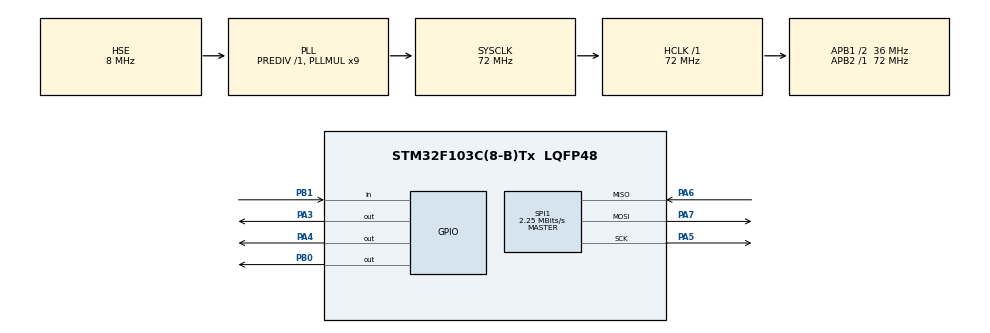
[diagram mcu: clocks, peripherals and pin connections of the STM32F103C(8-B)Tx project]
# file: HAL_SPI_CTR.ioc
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Mcu.Family=STM32F1
Mcu.Name=STM32F103C(8-B)Tx
Mcu.Package=LQFP48
NVIC.PriorityGroup=NVIC_PRIORITYGROUP_4
NVIC.RCC_IRQn=true\:0\:0\:false\:false\:true\:true\:false\:true
NVIC.SPI1_IRQn=true\:0\:0\:false\:false\:true\:true\:true\:true
NVIC.TIM2_IRQn=true\:0\:0\:false\:false\:true\:true\:true\:true
PA13.Mode=Serial_Wire
PA13.Signal=SYS_JTMS-SWDIO
PA14.Mode=Serial_Wire
PA14.Signal=SYS_JTCK-SWCLK
PA3.Signal=GPIO_Output
PA4.Signal=GPIO_Output
PA5.Mode=Full_Duplex_Master
PA5.Signal=SPI1_SCK
PA6.Mode=Full_Duplex_Master
PA6.Signal=SPI1_MISO
PA7.Mode=Full_Duplex_Master
PA7.Signal=SPI1_MOSI
PB0.Signal=GPIO_Output
PB1.GPIO_PuPd=GPIO_PULLUP
PB1.Signal=GPIO_Input
PD0-OSC_IN.Mode=HSE-External-Oscillator
PD0-OSC_IN.Signal=RCC_OSC_IN
PD1-OSC_OUT.Mode=HSE-External-Oscillator
PD1-OSC_OUT.Signal=RCC_OSC_OUT
ProjectManager.HeapSize=0x200
ProjectManager.StackSize=0x400
ProjectManager.TargetToolchain=MDK-ARM V5.32
RCC.AHBFreq_Value=72000000
RCC.APB1CLKDivider=RCC_HCLK_DIV2
RCC.APB1Freq_Value=36000000
RCC.APB1TimFreq_Value=72000000
RCC.APB2Freq_Value=72000000
RCC.APB2TimFreq_Value=72000000
RCC.HCLKFreq_Value=72000000
RCC.PLLMUL=RCC_PLL_MUL9
RCC.PLLSourceVirtual=RCC_PLLSOURCE_HSE
RCC.SYSCLKFreq_VALUE=72000000
RCC.SYSCLKSource=RCC_SYSCLKSOURCE_PLLCLK
RCC.USBFreq_Value=72000000
SPI1.BaudRatePrescaler=SPI_BAUDRATEPRESCALER_32
SPI1.CRCCalculation=SPI_CRCCALCULATION_DISABLE
SPI1.CalculateBaudRate=2.25 MBits/s
SPI1.Direction=SPI_DIRECTION_2LINES
SPI1.Mode=SPI_MODE_MASTER
SPI1.VirtualType=VM_MASTER
TIM2.Period=1000-1
TIM2.Prescaler=72-1
VP_TIM2_VS_ClockSourceINT.Mode=Internal
board=custom

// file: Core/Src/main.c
/* USER CODE BEGIN Header */
/**
  ******************************************************************************
  * @file           : main.c
  * @brief          : Main program body
  ******************************************************************************
  * @attention
  *
  * Copyright (c) 2023 STMicroelectronics.
  * All rights reserved.
  *
  * This software is licensed under terms that can be found in the LICENSE file
  * in the root directory of this software component.
  * If no LICENSE file comes with this software, it is provided AS-IS.
  *
  ******************************************************************************
  */
/* USER CODE END Header */
#include "main.h"
#include "spi.h"
#include "tim.h"
#include "gpio.h"

/* USER CODE BEGIN Includes */
#include "drv_RF24L01.h"
#include "drv_spi.h"
/* USER CODE END Includes */

void SystemClock_Config(void);

/* USER CODE BEGIN 0 */
uint8_t a = 0;
uint8_t b = 0;
/* USER CODE END 0 */

int main(void)
{

  /* MCU Configuration--------------------------------------------------------*/

  /* Reset of all peripherals, Initializes the Flash interface and the Systick. */
  HAL_Init();

  /* Configure the system clock */
  SystemClock_Config();

  /* Initialize all configured peripherals */
  MX_GPIO_Init();
  MX_SPI1_Init();
  MX_TIM2_Init();
  /* USER CODE BEGIN 2 */

  RF24L01_Port_Init();
  // HAL_GPIO_WritePin(GPIOA,GPIO_PIN_3,GPIO_PIN_RESET);
  // NRF24L01_Read_Status_Register(&NRF24L01_rtx);
  RF24L01_Init(&NRF24L01_rtx);
  //NRF24L01_Set_Speed(&NRF24L01_rtx,SPEED_1M);
  //NRF24L01_Set_Power(&NRF24L01_rtx, PWR_12DB);
  RF24L01_Set_Mode(&NRF24L01_rtx, MODE_TX);
  //RF24L01_SET_CE_HIGH( );
    for(uint8_t i=0;i<32;i++)
  {
    NRF24L01_bus.TxPacket.Txbuffer[i] = 0;
  }
  NRF24L01_bus.TxPacket.Txlength = 32;
   NRF24L01_bus.TxPacket.Txbuffer[1]=1;

  /* USER CODE END 2 */

  /* Infinite loop */
  while (1)
  {

    /* USER CODE BEGIN 3 */
	  //NRF24L01_check(&NRF24L01_rtx);
	  HAL_Delay(1000);
    NRF24L01_TxPacket(&NRF24L01_rtx, &NRF24L01_bus);
    a = NRF24L01_Read_Reg(&NRF24L01_rtx, STATUS);
    b = NRF24L01_Read_Reg(&NRF24L01_rtx, NRF_FIFO_STATUS);

  }
  /* USER CODE END 3 */
}

void SystemClock_Config(void)
{
  RCC_OscInitTypeDef RCC_OscInitStruct = {0};
  RCC_ClkInitTypeDef RCC_ClkInitStruct = {0};

  /** Initializes the RCC Oscillators according to the specified parameters
  * in the RCC_OscInitTypeDef structure.
  */
  RCC_OscInitStruct.OscillatorType = RCC_OSCILLATORTYPE_HSE;
  RCC_OscInitStruct.HSEState = RCC_HSE_ON;
  RCC_OscInitStruct.HSEPredivValue = RCC_HSE_PREDIV_DIV1;
  RCC_OscInitStruct.HSIState = RCC_HSI_ON;
  RCC_OscInitStruct.PLL.PLLState = RCC_PLL_ON;
  RCC_OscInitStruct.PLL.PLLSource = RCC_PLLSOURCE_HSE;
  RCC_OscInitStruct.PLL.PLLMUL = RCC_PLL_MUL9;
  if (HAL_RCC_OscConfig(&RCC_OscInitStruct) != HAL_OK)
  {
    Error_Handler();
  }

  /** Initializes the CPU, AHB and APB buses clocks
  */
  RCC_ClkInitStruct.ClockType = RCC_CLOCKTYPE_HCLK|RCC_CLOCKTYPE_SYSCLK
                              |RCC_CLOCKTYPE_PCLK1|RCC_CLOCKTYPE_PCLK2;
  RCC_ClkInitStruct.SYSCLKSource = RCC_SYSCLKSOURCE_PLLCLK;
  RCC_ClkInitStruct.AHBCLKDivider = RCC_SYSCLK_DIV1;
  RCC_ClkInitStruct.APB1CLKDivider = RCC_HCLK_DIV2;
  RCC_ClkInitStruct.APB2CLKDivider = RCC_HCLK_DIV1;

  if (HAL_RCC_ClockConfig(&RCC_ClkInitStruct, FLASH_LATENCY_2) != HAL_OK)
  {
    Error_Handler();
  }
}

void Error_Handler(void)
{
  __disable_irq();
  while (1)
  {
  }
}
